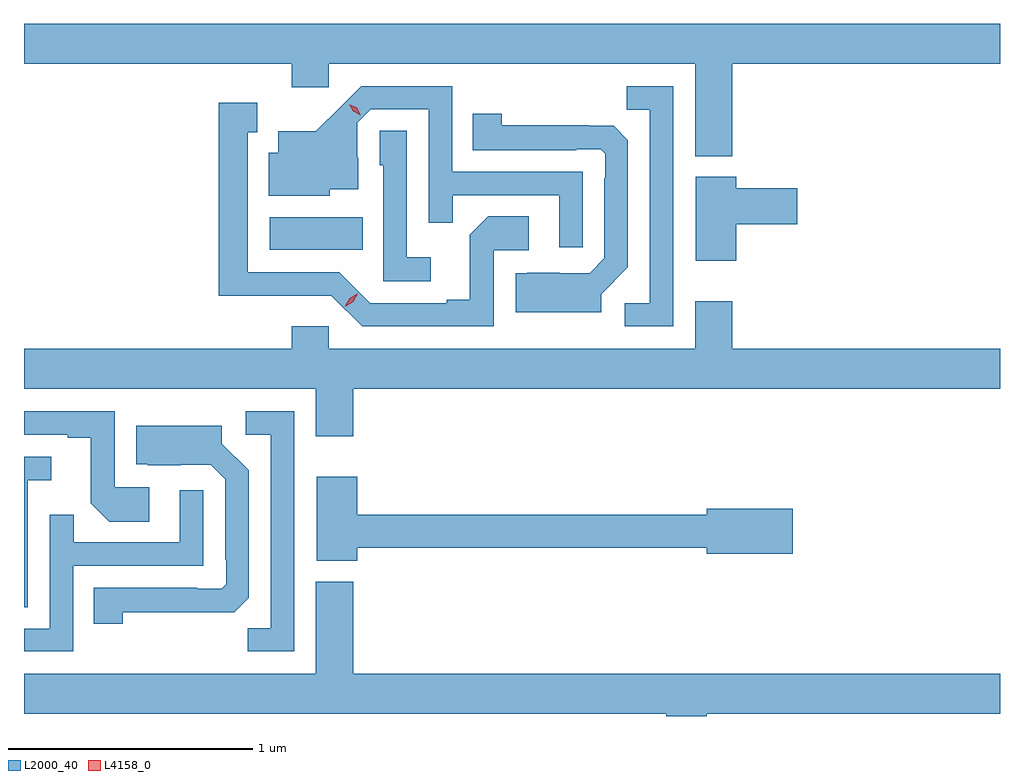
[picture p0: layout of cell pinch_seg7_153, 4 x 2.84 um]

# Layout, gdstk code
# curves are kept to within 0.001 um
import gdstk
lib = gdstk.Library(unit=1e-6, precision=1e-09)
def R(c, l, rs):  # rectangles x0, y0, x1, y1
    for r in rs: c.add(gdstk.rectangle(r[:2], r[2:], *l))
def P(c, l, *ps):  # polygons
    for p in ps: c.add(gdstk.Polygon(p, *l))
L2000_40 = (2000, 40)
L4158_0 = (4158, 0)

pinch_seg7_153 = lib.new_cell('pinch_seg7_153')
R(pinch_seg7_153, L2000_40, [(1048.242,1035.818,1048.622,1035.952)])
P(pinch_seg7_153, L2000_40, [(1050.137,1036.58),(1051.234,1036.58),(1051.234,1036.744),(1047.234,1036.744),(1047.234,1036.58),(1048.331,1036.58),(1048.331,1036.485),(1048.482,1036.485),(1048.482,1036.58),(1049.984,1036.58),(1049.984,1036.202),(1050.137,1036.202)],
  [(1049.895,1036.488),(1049.704,1036.488),(1049.704,1036.393),(1049.799,1036.393),(1049.799,1035.6),(1049.697,1035.6),(1049.697,1035.504),(1049.895,1035.504)],
  [(1049.523,1036.137),(1048.989,1036.137),(1048.989,1036.488),(1048.616,1036.488),(1048.429,1036.303),(1048.277,1036.303),(1048.277,1036.216),(1048.238,1036.216),(1048.238,1036.04),(1048.488,1036.04),(1048.488,1036.067),(1048.603,1036.067),(1048.603,1036.196),(1048.599,1036.196),(1048.599,1036.338),(1048.656,1036.395),(1048.893,1036.395),(1048.893,1035.928),(1048.991,1035.928),(1048.991,1036.041),(1049.427,1036.041),(1049.427,1035.828),(1049.523,1035.828)],
  [(1049.16,1035.816),(1049.302,1035.816),(1049.302,1035.956),(1049.137,1035.956),(1049.061,1035.88),(1049.061,1035.613),(1048.967,1035.613),(1048.967,1035.6),(1048.653,1035.6),(1048.527,1035.726),(1048.15,1035.726),(1048.15,1036.299),(1048.189,1036.299),(1048.189,1036.42),(1048.032,1036.42),(1048.032,1035.629),(1048.494,1035.63),(1048.62,1035.504),(1049.16,1035.504)],
  [(1049.599,1035.636),(1049.709,1035.746),(1049.709,1036.268),(1049.65,1036.327),(1049.193,1036.328),(1049.193,1036.375),(1049.074,1036.375),(1049.074,1036.227),(1049.498,1036.227),(1049.498,1036.23),(1049.598,1036.23),(1049.616,1036.212),(1049.616,1036.112),(1049.613,1036.112),(1049.613,1035.783),(1049.553,1035.723),(1049.296,1035.724),(1049.293,1035.721),(1049.249,1035.721),(1049.249,1035.563),(1049.599,1035.563)],
  [(1048.9,1035.787),(1048.803,1035.787),(1048.803,1036.307),(1048.692,1036.307),(1048.692,1036.164),(1048.707,1036.164),(1048.707,1035.69),(1048.9,1035.69)],
  [(1050.154,1035.923),(1050.403,1035.923),(1050.403,1036.07),(1050.154,1036.07),(1050.154,1036.117),(1049.987,1036.117),(1049.987,1035.774),(1050.154,1035.774)],
  [(1048.583,1035.248),(1051.234,1035.248),(1051.234,1035.412),(1050.137,1035.412),(1050.137,1035.607),(1049.984,1035.607),(1049.984,1035.412),(1048.482,1035.412),(1048.482,1035.505),(1048.331,1035.505),(1048.331,1035.412),(1047.234,1035.412),(1047.234,1035.248),(1048.43,1035.248),(1048.43,1035.054),(1048.583,1035.054)],
  [(1048.341,1035.156),(1048.143,1035.156),(1048.143,1035.06),(1048.245,1035.06),(1048.245,1034.267),(1048.15,1034.267),(1048.15,1034.172),(1048.341,1034.172)],
  [(1047.748,1034.844),(1047.606,1034.844),(1047.606,1035.156),(1047.234,1035.156),(1047.234,1035.06),(1047.413,1035.06),(1047.413,1035.048),(1047.507,1035.048),(1047.507,1034.78),(1047.583,1034.704),(1047.748,1034.704)],
  [(1047.639,1034.332),(1048.096,1034.333),(1048.155,1034.392),(1048.155,1034.914),(1048.045,1035.024),(1048.045,1035.097),(1047.695,1035.097),(1047.695,1034.939),(1047.739,1034.939),(1047.742,1034.936),(1047.999,1034.937),(1048.059,1034.877),(1048.059,1034.548),(1048.062,1034.548),(1048.062,1034.448),(1048.044,1034.43),(1047.944,1034.43),(1047.944,1034.433),(1047.52,1034.433),(1047.52,1034.286),(1047.639,1034.286)],
  [(1047.249,1034.873),(1047.346,1034.873),(1047.346,1034.97),(1047.234,1034.97),(1047.234,1034.353),(1047.249,1034.353)],
  [(1048.6,1034.596),(1050.032,1034.596),(1050.032,1034.573),(1050.385,1034.573),(1050.385,1034.756),(1050.032,1034.756),(1050.032,1034.732),(1048.6,1034.732),(1048.6,1034.887),(1048.433,1034.887),(1048.433,1034.543),(1048.6,1034.543)],
  [(1047.435,1034.523),(1047.969,1034.523),(1047.969,1034.833),(1047.873,1034.833),(1047.873,1034.619),(1047.437,1034.619),(1047.437,1034.732),(1047.339,1034.732),(1047.339,1034.265),(1047.234,1034.265),(1047.234,1034.172),(1047.435,1034.172)],
  [(1050.032,1033.916),(1051.234,1033.916),(1051.234,1034.08),(1048.583,1034.08),(1048.583,1034.458),(1048.43,1034.458),(1048.43,1034.08),(1047.234,1034.08),(1047.234,1033.916),(1049.867,1033.916),(1049.867,1033.907),(1050.032,1033.907)])
P(pinch_seg7_153, L4158_0, [(1048.614,1036.37),(1048.584,1036.385),(1048.566,1036.414),(1048.566,1036.415),(1048.566,1036.415),(1048.597,1036.4),(1048.615,1036.37),(1048.615,1036.37)],
  [(1048.551,1035.587),(1048.551,1035.588),(1048.569,1035.62),(1048.6,1035.639),(1048.601,1035.639),(1048.601,1035.638),(1048.583,1035.606),(1048.552,1035.587)])

lib.write_gds('pinch_seg7_153.gds')
